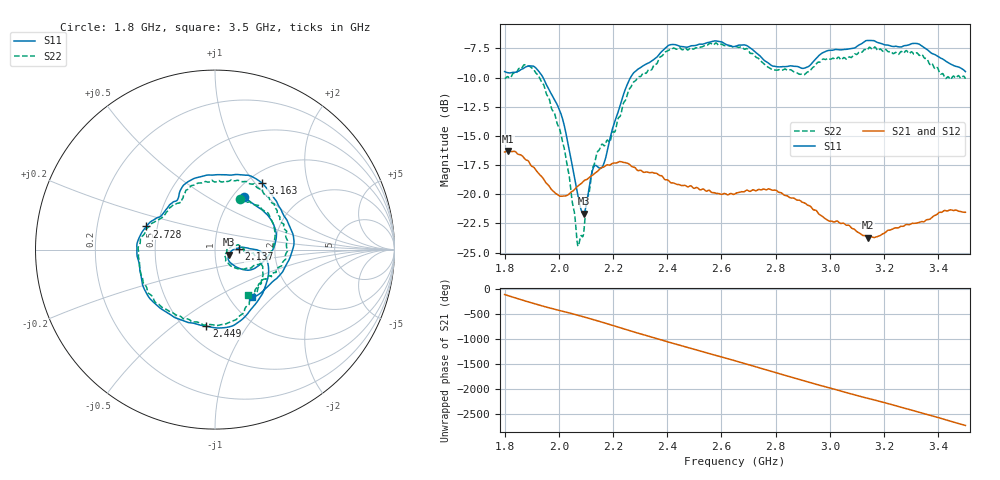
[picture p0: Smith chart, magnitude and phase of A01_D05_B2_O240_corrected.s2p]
! Created with skrf 1.9.0 (http://scikit-rf.org).
# Hz S RI R 50.0
!freq ReS11 ImS11 ReS21 ImS21 ReS12 ImS12 ReS22 ImS22
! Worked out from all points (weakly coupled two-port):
!   1601 points, 1.8 GHz to 3.5 GHz, reference 50 ohm
!   highest |S21| = -16.28 dB at 1.812 GHz (marker M1); lowest = -23.7 dB at 3.142 GHz (marker M2)
!   lowest |S11| = -21.7 dB at 2.091 GHz (marker M3), VSWR 1.18, Z = 58.3 - j3.35 ohm
!   |S11| at or under -10 dB: 1.942 GHz to 2.264 GHz (322.3 MHz wide, 15.3 % of centre)
!   |S22| runs from -24.4 to -7.0 dB; largest |S21 - S12| = 0.0029
!   S11 on the Smith chart (normalised r, x): 1.8 GHz: 1.13, +0.75; 2.137 GHz: 1.31, +0.01; 2.449 GHz: 0.64, -0.67; 2.728 GHz: 0.43, +0.13; 3.163 GHz: 1.17, +1.09; 3.5 GHz: 1.26, -0.76
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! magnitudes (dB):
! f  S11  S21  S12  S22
! 1.8 GHz  -9.5  -16.4  -16.4  -10.1
! 1.812 GHz  -9.6  -16.3  -16.3  -9.9
! 1.88 GHz  -9.1  -17.1  -17.1  -9.0
! 1.942 GHz  -10.0  -18.7  -18.7  -10.5
! 2.013 GHz  -13.4  -20.2  -20.2  -15.4
! 2.068 GHz  -19.8  -19.3  -19.4  -24.1
! 2.084 GHz  -21.4  -19.1  -19.0  -23.5
! 2.091 GHz  -21.7  -18.9  -18.9  -23.4
! 2.137 GHz  -17.5  -18.1  -18.1  -16.8
! 2.166 GHz  -17.4  -17.7  -17.6  -15.8
! 2.265 GHz  -10.0  -17.5  -17.5  -10.8
! 2.367 GHz  -8.1  -18.3  -18.3  -8.5
! 2.449 GHz  -7.3  -19.2  -19.2  -7.5
! 2.65 GHz  -7.3  -20.0  -19.9  -7.4
! 2.728 GHz  -7.9  -19.7  -19.7  -8.3
! 2.797 GHz  -9.0  -19.6  -19.6  -9.4
! 2.934 GHz  -8.8  -21.2  -21.2  -9.2
! 3.142 GHz  -6.8  -23.7  -23.6  -7.5
! 3.163 GHz  -6.8  -23.7  -23.7  -7.4
! 3.217 GHz  -7.2  -23.1  -23.1  -7.8
! 3.326 GHz  -7.1  -22.4  -22.4  -8.0
! 3.5 GHz  -9.5  -21.5  -21.5  -10.1
